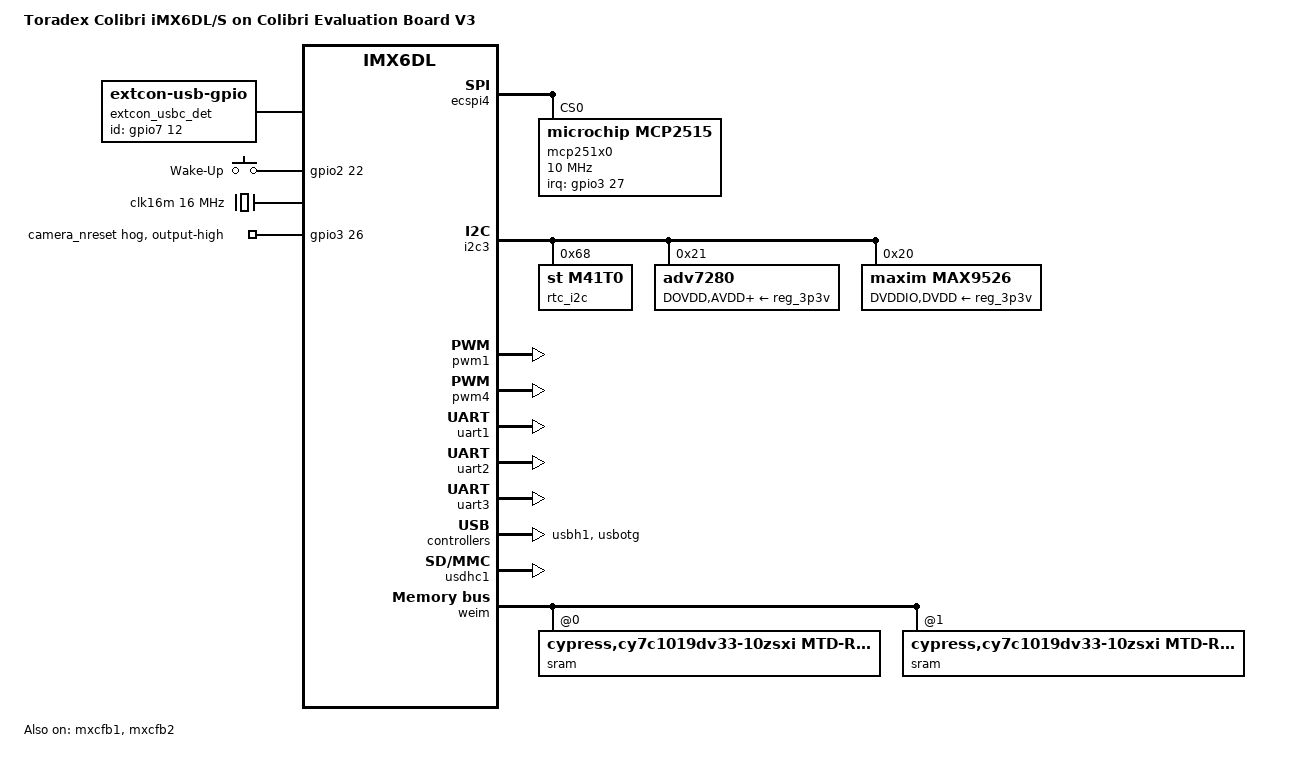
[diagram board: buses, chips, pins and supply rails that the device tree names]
/*
 * Copyright 2014-2018 Toradex AG
 * Copyright 2012 Freescale Semiconductor, Inc.
 * Copyright 2011 Linaro Ltd.
 *
 * The code contained herein is licensed under the GNU General Public
 * License. You may obtain a copy of the GNU General Public License
 * Version 2 or later at the following locations:
 *
 * http://www.opensource.org/licenses/gpl-license.html
 * http://www.gnu.org/copyleft/gpl.html
 */

/dts-v1/;

#include <dt-bindings/input/input.h>
#include <dt-bindings/interrupt-controller/irq.h>
#include <dt-bindings/pwm/pwm.h>
#include "imx6dl.dtsi"
#include "imx6qdl-colibri.dtsi"

/ {
	model = "Toradex Colibri iMX6DL/S on Colibri Evaluation Board V3";
	compatible = "toradex,colibri_imx6dl-eval", "toradex,colibri_imx6dl", "fsl,imx6dl";

	aliases {
		i2c0 = &i2cddc;
		i2c1 = &i2c2;
		i2c2 = &i2c3;
	};

	aliases {
		rtc0 = &rtc_i2c;
		rtc1 = &snvs_rtc;
	};

	aliases {
		/* the following, together with kernel patches, forces a fixed assignment
		   between device id and usdhc controller */
		/* i.e. the eMMC on usdhc3 will be /dev/mmcblk0 */
		mmc0 = &usdhc3; /* eMMC */
		mmc1 = &usdhc1; /* MMC 4bit slot */
	};

	extcon_usbc_det: usbc_det {
		compatible = "linux,extcon-usb-gpio";
		debounce = <25>;
		id-gpio = <&gpio7 12 GPIO_ACTIVE_HIGH>;
		pinctrl-names = "default";
		pinctrl-0 = <&pinctrl_usbc_det>;
	};

	gpio-keys {
		compatible = "gpio-keys";
		pinctrl-names = "default";
		pinctrl-0 = <&pinctrl_gpio_keys>;

		wakeup {
			label = "Wake-Up";
			gpios = <&gpio2 22 GPIO_ACTIVE_HIGH>;
			linux,code = <KEY_WAKEUP>;
			debounce-interval = <10>;
			gpio-key,wakeup;
		};
	};

	v4l2_cap_0 {
		compatible = "fsl,imx6q-v4l2-capture";
		ipu_id = <0>;
		csi_id = <1>;
		mclk_source = <0>;
		status = "okay";
	};
};

&reg_usb_host_vbus {
	status = "okay";
};

/ {
	clocks {
		/* fixed crystal dedicated to mcp251x */
		clk16m: clk16m {
			compatible = "fixed-clock";
			clock-frequency = <16000000>;
			clock-output-names = "clk16m";
			#clock-cells = <0>;
		};
	};
};

/* Colibri SPI */
&ecspi4 {
	mcp251x0: mcp251x@0 {
		compatible = "microchip,mcp2515";
		reg = <0>;
		clocks = <&clk16m>;
		interrupt-parent = <&gpio3>;
		interrupts = <27 0x2>;
		spi-max-frequency = <10000000>;
		status = "okay";
	};
	/* To keep the CAN controller enabled by default,
	 * disable conflicting spidev. This spidev device
	 * enables with the devicetree overlay.
	 */
	spidev0: spidev@0 {
		status = "disabled";
	};
};

&gpio3 {
	camera_nreset {
		gpio-hog;
		gpios = <26 0>; /* SODIMM 71 */
		output-high;
	};
};

/*
 * I2C: I2C3_SDA/SCL on SODIMM 194/196 (e.g. RTC on carrier
 * board)
 */
&i2c3 {
	status = "okay";

	/* M41T0M6 real time clock on carrier board */
	rtc_i2c: rtc@68 {
		compatible = "st,m41t0";
		reg = <0x68>;
	};

	adv7280: adv7280@21 {
		compatible = "adv7280";
		reg = <0x21>;
		pinctrl-names = "default";
		pinctrl-0 = <&pinctrl_ipu1_csi0 &pinctrl_cam_mclk>;
		clocks = <&clks IMX6QDL_CLK_CKO2>;
		clock-names = "csi_mclk";
		DOVDD-supply = <&reg_3p3v>;
		AVDD-supply = <&reg_3p3v>;
		DVDD-supply = <&reg_3p3v>;
		PVDD-supply = <&reg_3p3v>;
		csi_id = <1>;
		mclk = <24000000>;
		mclk_source = <1>;
		status = "okay";
	};

	/* Video ADC on Analog Camera Module */
	adv7180: adv7180@21 {
		compatible = "adv,adv7180";
		reg = <0x21>;
		pinctrl-names = "default";
		pinctrl-0 = <&pinctrl_ipu1_csi0 &pinctrl_cam_mclk>;
		clocks = <&clks IMX6QDL_CLK_CKO2>;
		clock-names = "csi_mclk";
		DOVDD-supply = <&reg_3p3v>; /* 3.3v */
		AVDD-supply = <&reg_3p3v>;  /* 1.8v */
		DVDD-supply = <&reg_3p3v>;  /* 1.8v */
		PVDD-supply = <&reg_3p3v>;  /* 1.8v */
		csi_id = <1>;
		mclk = <24000000>;
		mclk_source = <0>;
		cvbs = <1>;
		status = "disabled";
	};
	max9526: max9526@20 {
		compatible = "maxim,max9526";
		reg = <0x20>;
		pinctrl-names = "default";
		pinctrl-0 = <&pinctrl_ipu1_csi0 &pinctrl_cam_mclk>;
		clocks = <&clks IMX6QDL_CLK_CKO2>;
		clock-names = "csi_mclk";
		DVDDIO-supply = <&reg_3p3v>; /* 3.3v */
		AVDD-suplsply = <&reg_3p3v>;  /* 1.8v */
		DVDD-supply = <&reg_3p3v>;  /* 1.8v */
		csi_id = <1>;
		mclk = <24000000>;
		mclk_source = <0>;
		cvbs = <1>;
		status = "okay";
	};
};

&iomuxc {
	/*
	 * Mux all pins which are unused to be GPIOs
	 * so they are ready for export to user space
	 */
	pinctrl-names = "default";
	pinctrl-0 = <
		&pinctrl_weim_gpio_1 &pinctrl_weim_gpio_2
		&pinctrl_weim_gpio_3 &pinctrl_weim_gpio_4
		&pinctrl_weim_gpio_5 &pinctrl_weim_gpio_6
		&pinctrl_gpio_1
		&pinctrl_gpio_2
		&pinctrl_gpio_bl_on
		&pinctrl_usbh_oc_1 &pinctrl_usbc_id_1
	>;
};

&mxcfb1 {
	status = "okay";
};

&mxcfb2 {
	status = "okay";
};

/* the PCAPs use SODIMM 28/30, also used for PWM<B>, PWM<C>, aka pwm1, pwm4.
   so if you enable one of the PCAP controllers disable the pwms */
&pwm1 {
	status = "okay";
};

&pwm4 {
	status = "okay";
};

&uart1 {
	status = "okay";
};

&uart2 {
	status = "okay";
#if 0
	linux,rs485-enabled-at-boot-time;
	rs485-rts-active-low;
	rs485-rx-during-tx;
#endif
};

&uart3 {
	status = "okay";
};

&usbh1 {
	status = "okay";
};

&usbotg {
	status = "okay";
	extcon = <&extcon_usbc_det>, <&extcon_usbc_det>;
};

/* MMC */
&usdhc1 {
	status = "okay";
};

&weim {
	status = "okay";
	fsl,weim-cs-gpr = <&gpr>;
	/* weim memory map: 32MB on CS0, 32MB on CS1, 32MB on CS2, 32MB on CS3 */
	ranges = <0 0 0x08000000 0x02000000
	          1 0 0x0a000000 0x02000000
	          2 0 0x0c000000 0x02000000
	          3 0 0x0e000000 0x02000000>;
	/* SRAM on CS0 */
	sram@0,0 {
		compatible = "cypress,cy7c1019dv33-10zsxi, mtd-ram";
		reg = <0 0 0x00010000>;
		#address-cells = <1>;
		#size-cells = <1>;
		bank-width = <2>;
		fsl,weim-cs-timing = <0x00010081 0x00000000 0x04000000
				0x00000000 0x04000040 0x00000000>;
	};
	/* SRAM on CS1 */
	sram@1,0 {
		compatible = "cypress,cy7c1019dv33-10zsxi, mtd-ram";
		reg = <1 0 0x00010000>;
		#address-cells = <1>;
		#size-cells = <1>;
		bank-width = <2>;
		fsl,weim-cs-timing = <0x00010081 0x00000000 0x04000000
				0x00000000 0x04000040 0x00000000>;
	};
};
